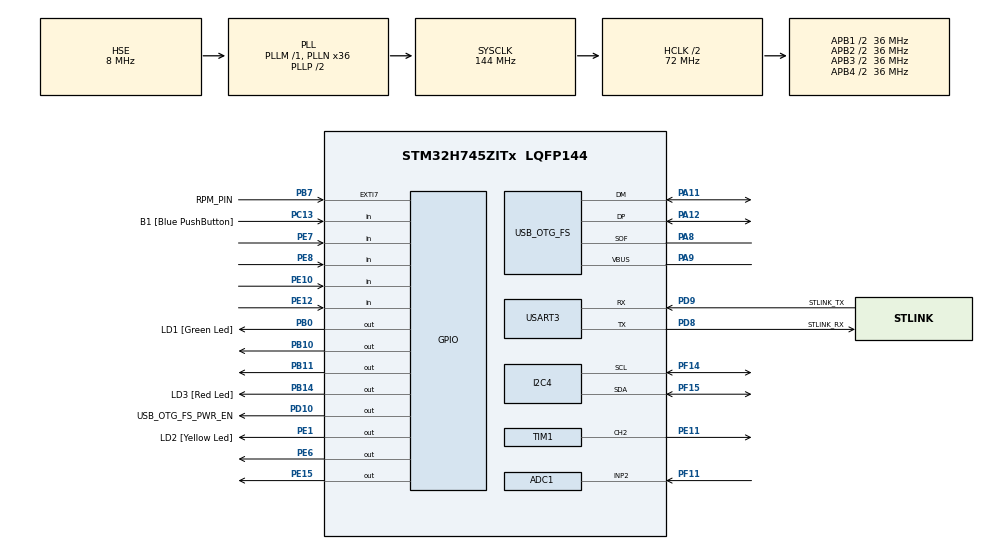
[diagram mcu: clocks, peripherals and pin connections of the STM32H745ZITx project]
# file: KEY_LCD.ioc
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ADC1.Channel-2\#ChannelRegularConversion=ADC_CHANNEL_2
ADC1.ClockPrescaler=ADC_CLOCK_ASYNC_DIV256
ADC1.ContinuousConvMode=ENABLE
ADC1.ConversionDataManagement=ADC_CONVERSIONDATA_DMA_CIRCULAR
ADC1.EOCSelection=ADC_EOC_SEQ_CONV
ADC1.NbrOfConversionFlag=1
ADC1.OffsetNumber-2\#ChannelRegularConversion=ADC_OFFSET_NONE
ADC1.OffsetSignedSaturation-2\#ChannelRegularConversion=DISABLE
ADC1.Overrun=ADC_OVR_DATA_OVERWRITTEN
ADC1.Rank-2\#ChannelRegularConversion=1
ADC1.Resolution=ADC_RESOLUTION_12B
ADC1.SamplingTime-2\#ChannelRegularConversion=ADC_SAMPLETIME_810CYCLES_5
ADC1.master=1
CortexM4.IPs=FATFS_M4\:I,FREERTOS_M4\:I,IWDG2\:I,RCC,WWDG2\:I,DMA,BDMA,MDMA,NVIC2\:I,DEBUG,USB_DEVICE_M4\:I,USB_HOST_M4\:I,PDM2PCM_M4\:I,PWR,RESMGR_UTILITY,SYS_M4\:I,CORTEX_M4\:I,OPENAMP_M4\:I,VREFBUF
CortexM7.IPs=FATFS_M7\:I,FREERTOS_M7\:I,IWDG1\:I,RCC\:I,WWDG1\:I,DMA\:I,BDMA\:I,MDMA\:I,NVIC1\:I,SYS\:I,USB_OTG_FS\:I,CORTEX_M7\:I,DEBUG\:I,USB_DEVICE_M7\:I,USB_HOST_M7\:I,PDM2PCM_M7\:I,PWR\:I,RESMGR_UTILITY\:I,OPENAMP_M7\:I,VREFBUF\:I,TIM5\:I,I2C4\:I,TIM13\:I,ADC1\:I,TIM1\:I,USART3\:I
CortexM7.Pins=PE6,PC13,PB0,PE7,PE8,PE10,PE12,PE15,PB10,PB11,PB14,PD10,PB7,PE1
Dma.ADC1.0.Direction=DMA_PERIPH_TO_MEMORY
Dma.ADC1.0.EventEnable=DISABLE
Dma.ADC1.0.FIFOMode=DMA_FIFOMODE_DISABLE
Dma.ADC1.0.Instance=DMA1_Stream0
Dma.ADC1.0.MemDataAlignment=DMA_MDATAALIGN_HALFWORD
Dma.ADC1.0.MemInc=DMA_MINC_ENABLE
Dma.ADC1.0.Mode=DMA_CIRCULAR
Dma.ADC1.0.PeriphDataAlignment=DMA_PDATAALIGN_HALFWORD
Dma.ADC1.0.PeriphInc=DMA_PINC_DISABLE
Dma.ADC1.0.Polarity=HAL_DMAMUX_REQ_GEN_RISING
Dma.ADC1.0.Priority=DMA_PRIORITY_LOW
Dma.ADC1.0.RequestNumber=1
Dma.ADC1.0.SignalID=NONE
Dma.ADC1.0.SyncEnable=DISABLE
Dma.ADC1.0.SyncPolarity=HAL_DMAMUX_SYNC_NO_EVENT
Dma.ADC1.0.SyncRequestNumber=1
Dma.ADC1.0.SyncSignalID=NONE
Dma.Request0=ADC1
I2C4.Timing=0x00808CD2
Mcu.Family=STM32H7
Mcu.Name=STM32H745ZITx
Mcu.Package=LQFP144
NVIC1.DMA1_Stream0_IRQn=true\:0\:0\:false\:false\:true\:false\:true
NVIC1.EXTI9_5_IRQn=true\:0\:0\:false\:false\:true\:true\:true
NVIC1.PriorityGroup=NVIC_PRIORITYGROUP_4
NVIC1.TIM5_IRQn=true\:0\:0\:false\:false\:true\:true\:true
NVIC1.TIM8_UP_TIM13_IRQn=true\:0\:0\:false\:false\:true\:true\:true
NVIC2.PriorityGroup=NVIC_PRIORITYGROUP_4
PA1.PinAttribute=CortexM4
PA1.Signal=ETH_REF_CLK
PA11.Mode=Device_Only
PA11.PinAttribute=CortexM7
PA11.Signal=USB_OTG_FS_DM
PA12.Mode=Device_Only
PA12.PinAttribute=CortexM7
PA12.Signal=USB_OTG_FS_DP
PA2.PinAttribute=CortexM4
PA2.Signal=ETH_MDIO
PA7.PinAttribute=CortexM4
PA7.Signal=ETH_CRS_DV
PA8.Mode=Activate_SOF_FS
PA8.PinAttribute=CortexM7
PA8.Signal=USB_OTG_FS_SOF
PA9.Mode=Activate_VBUS
PA9.PinAttribute=CortexM7
PA9.Signal=USB_OTG_FS_VBUS
PB0.GPIO_Label=LD1 [Green Led]
PB0.PinAttribute=CortexM7
PB0.Signal=GPIO_Output
PB10.GPIO_PuPd=GPIO_NOPULL
PB10.PinAttribute=CortexM7
PB10.PinState=GPIO_PIN_SET
PB10.Signal=GPIO_Output
PB11.GPIO_PuPd=GPIO_NOPULL
PB11.PinAttribute=CortexM7
PB11.PinState=GPIO_PIN_SET
PB11.Signal=GPIO_Output
PB13.PinAttribute=CortexM4
PB13.Signal=ETH_TXD1
PB14.GPIO_Label=LD3 [Red Led]
PB14.PinAttribute=CortexM7
PB14.Signal=GPIO_Output
PB7.GPIO_Label=RPM_PIN
PB7.PinAttribute=CortexM7
PB7.Signal=GPXTI7
PC1.PinAttribute=CortexM4
PC1.Signal=ETH_MDC
PC13.GPIO_Label=B1 [Blue PushButton]
PC13.PinAttribute=CortexM7
PC13.Signal=GPIO_Input
PC14-OSC32_IN\ (OSC32_IN).Mode=LSE-External-Oscillator
PC14-OSC32_IN\ (OSC32_IN).PinAttribute=CortexM7
PC14-OSC32_IN\ (OSC32_IN).Signal=RCC_OSC32_IN
PC15-OSC32_OUT\ (OSC32_OUT).Mode=LSE-External-Oscillator
PC15-OSC32_OUT\ (OSC32_OUT).PinAttribute=CortexM7
PC15-OSC32_OUT\ (OSC32_OUT).Signal=RCC_OSC32_OUT
PC4.PinAttribute=CortexM4
PC4.Signal=ETH_RXD0
PC5.PinAttribute=CortexM4
PC5.Signal=ETH_RXD1
PD10.GPIO_Label=USB_OTG_FS_PWR_EN
PD10.PinAttribute=CortexM7
PD10.Signal=GPIO_Output
PD8.GPIO_Label=STLINK_RX
PD8.Mode=Asynchronous
PD8.PinAttribute=CortexM7
PD8.Signal=USART3_TX
PD9.GPIO_Label=STLINK_TX
PD9.Mode=Asynchronous
PD9.PinAttribute=CortexM7
PD9.Signal=USART3_RX
PE1.GPIO_Label=LD2 [Yellow Led]
PE1.PinAttribute=CortexM7
PE1.Signal=GPIO_Output
PE10.GPIO_PuPd=GPIO_PULLUP
PE10.PinAttribute=CortexM7
PE10.Signal=GPIO_Input
PE11.PinAttribute=CortexM7
PE11.Signal=S_TIM1_CH2
PE12.GPIO_PuPd=GPIO_PULLUP
PE12.PinAttribute=CortexM7
PE12.Signal=GPIO_Input
PE15.GPIO_PuPd=GPIO_NOPULL
PE15.PinAttribute=CortexM7
PE15.Signal=GPIO_Output
PE6.GPIO_PuPd=GPIO_NOPULL
PE6.PinAttribute=CortexM7
PE6.Signal=GPIO_Output
PE7.GPIO_PuPd=GPIO_PULLUP
PE7.PinAttribute=CortexM7
PE7.Signal=GPIO_Input
PE8.GPIO_PuPd=GPIO_PULLUP
PE8.PinAttribute=CortexM7
PE8.Signal=GPIO_Input
PF11.Mode=IN2-Single-Ended
PF11.PinAttribute=CortexM7
PF11.Signal=ADC1_INP2
PF14.Mode=I2C
PF14.PinAttribute=CortexM7
PF14.Signal=I2C4_SCL
PF15.Mode=I2C
PF15.PinAttribute=CortexM7
PF15.Signal=I2C4_SDA
PG11.PinAttribute=CortexM4
PG11.Signal=ETH_TX_EN
PG13.PinAttribute=CortexM4
PG13.Signal=ETH_TXD0
PH0-OSC_IN\ (PH0).Mode=HSE-External-Clock-Source
PH0-OSC_IN\ (PH0).PinAttribute=CortexM7
PH0-OSC_IN\ (PH0).Signal=RCC_OSC_IN
PH1-OSC_OUT\ (PH1).PinAttribute=CortexM7
PH1-OSC_OUT\ (PH1).Signal=RCC_OSC_OUT
ProjectManager.HeapSize=M4-0x200,M7-0x200
ProjectManager.StackSize=M4-0x400,M7-0x400
ProjectManager.TargetToolchain=STM32CubeIDE
RCC.ADCFreq_Value=37500000
RCC.APB1Freq_Value=36000000
RCC.APB2Freq_Value=36000000
RCC.APB3Freq_Value=36000000
RCC.APB4Freq_Value=36000000
RCC.CortexFreq_Value=72000000
RCC.D1CPRE=RCC_SYSCLK_DIV2
RCC.D1PPRE=RCC_APB3_DIV2
RCC.D2PPRE1=RCC_APB1_DIV2
RCC.D2PPRE2=RCC_APB2_DIV2
RCC.D3PPRE=RCC_APB4_DIV2
RCC.DIVM1=1
RCC.DIVM2=1
RCC.DIVM3=1
RCC.DIVN1=36
RCC.DIVN2=18
RCC.DIVN3=18
RCC.DIVP2=4
RCC.DIVQ3=3
RCC.HCLKFreq_Value=72000000
RCC.HSE_VALUE=8000000
RCC.PLL2FRACN=6144
RCC.PLL3FRACN=6144
RCC.PLLFRACN=0
RCC.SYSCLKFreq_VALUE=144000000
RCC.SYSCLKSource=RCC_SYSCLKSOURCE_PLLCLK
RCC.SupplySource=PWR_DIRECT_SMPS_SUPPLY
RCC.USBCLockSelection=RCC_USBCLKSOURCE_PLL3
RCC.USBFreq_Value=50000000
SH.S_TIM1_CH2.0=TIM1_CH2,PWM Generation2 CH2
TIM1.Channel-PWM\ Generation2\ CH2=TIM_CHANNEL_2
TIM1.Period=100
TIM1.Prescaler=239
TIM13.Period=5000
TIM13.Prescaler=47999
USART3.VirtualMode-Asynchronous=VM_ASYNC
USB_OTG_FS.VirtualMode=Device_Only
VP_SYS_M4_VS_Systick.Mode=SysTick
VP_TIM13_VS_ClockSourceINT.Mode=Enable_Timer
VP_TIM1_VS_ClockSourceINT.Mode=Internal
VP_TIM5_VS_ClockSourceINT.Mode=Internal
board=NUCLEO-H745ZI-Q

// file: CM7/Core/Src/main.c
/* USER CODE BEGIN Header */
/**
  ******************************************************************************
  * @file           : main.c
  * @brief          : Main program body
  ******************************************************************************
  * @attention
  *
  * <h2><center>&copy; Copyright (c) 2021 STMicroelectronics.
  * All rights reserved.</center></h2>
  *
  * This software component is licensed by ST under BSD 3-Clause license,
  * the "License"; You may not use this file except in compliance with the
  * License. You may obtain a copy of the License at:
  *                        opensource.org/licenses/BSD-3-Clause
  *
  ******************************************************************************
  */
/* USER CODE END Header */
#include "main.h"

/* USER CODE BEGIN Includes */
#include <stdio.h>
#include <i2c-lcd.h>
/* USER CODE END Includes */

/* USER CODE BEGIN PD */
#define R1_PORT GPIOB
#define R1_PIN GPIO_PIN_11

#define R2_PORT GPIOB
#define R2_PIN GPIO_PIN_10

#define R3_PORT GPIOE
#define R3_PIN GPIO_PIN_15

#define R4_PORT GPIOE
#define R4_PIN GPIO_PIN_6

#define C1_PORT GPIOE
#define C1_PIN GPIO_PIN_12

#define C2_PORT GPIOE
#define C2_PIN GPIO_PIN_10

#define C3_PORT GPIOE
#define C3_PIN GPIO_PIN_7

#define C4_PORT GPIOE
#define C4_PIN GPIO_PIN_8

#define MPU6050 0XD0
#define WHO_AM_I 0x75
#define SMPLRT_DIV 0x19
#define PWR_MGMT_1 0x6B
#define TEMP_OUT_H 0x41
#define TEMP_OUT_L 0x42

#define LEN 40

#define PWM_MIN -100
#define PWM_MAX 100
#define RPM_MIN -3300
#define RPM_MAX 3300
#define TEMP_MIN -40.0
#define TEMP_MAX 60.0

#define ADC_R_MIN 0.0
#define ADC_R_MAX 1024.0
#define Sensor_R_MIN -20.0
#define Sensor_R_MAX 150.0

#define FREQ_M 100

#ifndef HSEM_ID_0
#define HSEM_ID_0 (0U) /* HW semaphore 0*/
#endif
/* USER CODE END PD */

/* USER CODE BEGIN PM */
char i2c_buffer[16];
char uart_buf[100] = {0};
uint16_t uart_buf_len;
char temp_buff[] = {' ',' ',' '};
char buffer[9];
float temps[2];
int RPMS[2];
float err_TMP[2];
float err_RPM[2];
//float temperaturas[2];
int  temp_ref, RPM, PWM, error;
uint8_t key,flag, imp_flag;
uint8_t cont =0;
int contT =0;
uint16_t tempADC;
float m1,m2,b1,b2,m_t,b_t;
uint8_t enter_flag = 1;
uint16_t counterRPM;

float K_pp = 0.1;
float K_pr = 0.1;
float K_d = 0.5;

/* USER CODE END PM */

ADC_HandleTypeDef hadc1;
DMA_HandleTypeDef hdma_adc1;

I2C_HandleTypeDef hi2c4;

TIM_HandleTypeDef htim1;
TIM_HandleTypeDef htim5;
TIM_HandleTypeDef htim13;

UART_HandleTypeDef huart3;

PCD_HandleTypeDef hpcd_USB_OTG_FS;

void SystemClock_Config(void);
static void MX_GPIO_Init(void);
static void MX_USB_OTG_FS_PCD_Init(void);
static void MX_TIM5_Init(void);
static void MX_I2C4_Init(void);
static void MX_DMA_Init(void);
static void MX_ADC1_Init(void);
static void MX_TIM13_Init(void);
static void MX_TIM1_Init(void);
static void MX_USART3_UART_Init(void);

/* USER CODE BEGIN 0 */

uint8_t leerTeclado(void);
void procesarTeclado(int keyt);
void dispTemp(void);
void clearTempBuff(void);
float TMP_2_RPM(float error_tmp);
int RPM_2_PWM(int error_rpm);
void MPU6050_init(void);
volatile uint32_t adcData = 0;
/* USER CODE END 0 */

int main(void)
{
/* USER CODE BEGIN Boot_Mode_Sequence_0 */
  int32_t timeout;
/* USER CODE END Boot_Mode_Sequence_0 */

/* USER CODE BEGIN Boot_Mode_Sequence_1 */
  /* Wait until CPU2 boots and enters in stop mode or timeout*/
  timeout = 0xFFFF;
  while((__HAL_RCC_GET_FLAG(RCC_FLAG_D2CKRDY) != RESET) && (timeout-- > 0));
  if ( timeout < 0 )
  {
  Error_Handler();
  }
/* USER CODE END Boot_Mode_Sequence_1 */
  /* MCU Configuration--------------------------------------------------------*/

  /* Reset of all peripherals, Initializes the Flash interface and the Systick. */
  HAL_Init();

  /* Configure the system clock */
  SystemClock_Config();
/* USER CODE BEGIN Boot_Mode_Sequence_2 */
/* When system initialization is finished, Cortex-M7 will release Cortex-M4 by means of
HSEM notification */
/*HW semaphore Clock enable*/
__HAL_RCC_HSEM_CLK_ENABLE();
/*Take HSEM */
HAL_HSEM_FastTake(HSEM_ID_0);
/*Release HSEM in order to notify the CPU2(CM4)*/
HAL_HSEM_Release(HSEM_ID_0,0);
/* wait until CPU2 wakes up from stop mode */
timeout = 0xFFFF;
while((__HAL_RCC_GET_FLAG(RCC_FLAG_D2CKRDY) == RESET) && (timeout-- > 0));
if ( timeout < 0 )
{
Error_Handler();
}
/* USER CODE END Boot_Mode_Sequence_2 */

  /* Initialize all configured peripherals */
  MX_GPIO_Init();
  MX_USB_OTG_FS_PCD_Init();
  MX_TIM5_Init();
  MX_I2C4_Init();
  MX_DMA_Init();
  MX_ADC1_Init();
  MX_TIM13_Init();
  MX_TIM1_Init();
  MX_USART3_UART_Init();
  /* USER CODE BEGIN 2 */
	lcd_init();
	MPU6050_init();
	TIM1->CCR2 = 100;
	HAL_TIM_PWM_Start(&htim1,TIM_CHANNEL_2);
	HAL_TIM_Base_Start_IT(&htim13);
	m1 = (RPM_MAX - RPM_MIN)/(TEMP_MAX-TEMP_MIN);
	b1 = -m1*TEMP_MIN+RPM_MIN;
	m2 = (PWM_MAX - PWM_MIN)/(RPM_MAX - RPM_MIN);
	b2 = -m2*RPM_MIN+PWM_MIN;

	m_t = (Sensor_R_MAX - Sensor_R_MIN)/(ADC_R_MAX - ADC_R_MIN);
	b_t = -m_t*ADC_R_MIN + Sensor_R_MIN;

//	HAL_ADC_Start_DMA(&hadc1, (uint32_t*)&temps[1], 1);

  /* USER CODE END 2 */

  /* Infinite loop */
  while (1)
  {

    /* USER CODE BEGIN 3 */

		key = leerTeclado();
		if (key!= 0x16)
		{
		procesarTeclado(key);
		//lcd_send_string(temp_buff[0]);
		}
		HAL_Delay(200);

		err_RPM[0] = err_RPM[1];
		err_RPM[1] = TMP_2_RPM(temps[1] - temps[0]);
		RPMS[1] = RPMS[1] + K_pr*err_RPM[1] + (K_d/FREQ_M)*(err_RPM[1]-err_RPM[0]);

		error = RPM_2_PWM(RPMS[1] - RPMS[0]);
		PWM = PWM + K_pp*error;

	   if (PWM > PWM_MAX)
		PWM = PWM_MAX;
	   else if (PWM < PWM_MIN)
		PWM = PWM_MIN;

	   if (RPM > RPM_MAX)
		RPM = RPM_MAX;
	   else if (RPM < RPM_MIN)
		RPM = RPM_MIN;

	  TIM1->CCR2 = 99;
	  HAL_Delay(100);
}
  /* USER CODE END 3 */
}

void SystemClock_Config(void)
{
  RCC_OscInitTypeDef RCC_OscInitStruct = {0};
  RCC_ClkInitTypeDef RCC_ClkInitStruct = {0};

  /** Supply configuration update enable
  */
  HAL_PWREx_ConfigSupply(PWR_DIRECT_SMPS_SUPPLY);
  /** Configure the main internal regulator output voltage
  */
  __HAL_PWR_VOLTAGESCALING_CONFIG(PWR_REGULATOR_VOLTAGE_SCALE3);

  while(!__HAL_PWR_GET_FLAG(PWR_FLAG_VOSRDY)) {}
  /** Macro to configure the PLL clock source
  */
  __HAL_RCC_PLL_PLLSOURCE_CONFIG(RCC_PLLSOURCE_HSE);
  /** Initializes the RCC Oscillators according to the specified parameters
  * in the RCC_OscInitTypeDef structure.
  */
  RCC_OscInitStruct.OscillatorType = RCC_OSCILLATORTYPE_HSE;
  RCC_OscInitStruct.HSEState = RCC_HSE_BYPASS;
  RCC_OscInitStruct.PLL.PLLState = RCC_PLL_ON;
  RCC_OscInitStruct.PLL.PLLSource = RCC_PLLSOURCE_HSE;
  RCC_OscInitStruct.PLL.PLLM = 1;
  RCC_OscInitStruct.PLL.PLLN = 36;
  RCC_OscInitStruct.PLL.PLLP = 2;
  RCC_OscInitStruct.PLL.PLLQ = 2;
  RCC_OscInitStruct.PLL.PLLR = 2;
  RCC_OscInitStruct.PLL.PLLRGE = RCC_PLL1VCIRANGE_3;
  RCC_OscInitStruct.PLL.PLLVCOSEL = RCC_PLL1VCOWIDE;
  RCC_OscInitStruct.PLL.PLLFRACN = 0;
  if (HAL_RCC_OscConfig(&RCC_OscInitStruct) != HAL_OK)
  {
    Error_Handler();
  }
  /** Initializes the CPU, AHB and APB buses clocks
  */
  RCC_ClkInitStruct.ClockType = RCC_CLOCKTYPE_HCLK|RCC_CLOCKTYPE_SYSCLK
                              |RCC_CLOCKTYPE_PCLK1|RCC_CLOCKTYPE_PCLK2
                              |RCC_CLOCKTYPE_D3PCLK1|RCC_CLOCKTYPE_D1PCLK1;
  RCC_ClkInitStruct.SYSCLKSource = RCC_SYSCLKSOURCE_PLLCLK;
  RCC_ClkInitStruct.SYSCLKDivider = RCC_SYSCLK_DIV2;
  RCC_ClkInitStruct.AHBCLKDivider = RCC_HCLK_DIV1;
  RCC_ClkInitStruct.APB3CLKDivider = RCC_APB3_DIV2;
  RCC_ClkInitStruct.APB1CLKDivider = RCC_APB1_DIV2;
  RCC_ClkInitStruct.APB2CLKDivider = RCC_APB2_DIV2;
  RCC_ClkInitStruct.APB4CLKDivider = RCC_APB4_DIV2;

  if (HAL_RCC_ClockConfig(&RCC_ClkInitStruct, FLASH_LATENCY_1) != HAL_OK)
  {
    Error_Handler();
  }
}

static void MX_ADC1_Init(void)
{

  ADC_MultiModeTypeDef multimode = {0};
  ADC_ChannelConfTypeDef sConfig = {0};

  /** Common config
  */
  hadc1.Instance = ADC1;
  hadc1.Init.ClockPrescaler = ADC_CLOCK_ASYNC_DIV256;
  hadc1.Init.Resolution = ADC_RESOLUTION_12B;
  hadc1.Init.ScanConvMode = ADC_SCAN_DISABLE;
  hadc1.Init.EOCSelection = ADC_EOC_SEQ_CONV;
  hadc1.Init.LowPowerAutoWait = DISABLE;
  hadc1.Init.ContinuousConvMode = ENABLE;
  hadc1.Init.NbrOfConversion = 1;
  hadc1.Init.DiscontinuousConvMode = DISABLE;
  hadc1.Init.ExternalTrigConv = ADC_SOFTWARE_START;
  hadc1.Init.ExternalTrigConvEdge = ADC_EXTERNALTRIGCONVEDGE_NONE;
  hadc1.Init.ConversionDataManagement = ADC_CONVERSIONDATA_DMA_CIRCULAR;
  hadc1.Init.Overrun = ADC_OVR_DATA_OVERWRITTEN;
  hadc1.Init.LeftBitShift = ADC_LEFTBITSHIFT_NONE;
  hadc1.Init.OversamplingMode = DISABLE;
  if (HAL_ADC_Init(&hadc1) != HAL_OK)
  {
    Error_Handler();
  }
  /** Configure the ADC multi-mode
  */
  multimode.Mode = ADC_MODE_INDEPENDENT;
  if (HAL_ADCEx_MultiModeConfigChannel(&hadc1, &multimode) != HAL_OK)
  {
    Error_Handler();
  }
  /** Configure Regular Channel
  */
  sConfig.Channel = ADC_CHANNEL_2;
  sConfig.Rank = ADC_REGULAR_RANK_1;
  sConfig.SamplingTime = ADC_SAMPLETIME_810CYCLES_5;
  sConfig.SingleDiff = ADC_SINGLE_ENDED;
  sConfig.OffsetNumber = ADC_OFFSET_NONE;
  sConfig.Offset = 0;
  sConfig.OffsetSignedSaturation = DISABLE;
  if (HAL_ADC_ConfigChannel(&hadc1, &sConfig) != HAL_OK)
  {
    Error_Handler();
  }

}

static void MX_I2C4_Init(void)
{

  hi2c4.Instance = I2C4;
  hi2c4.Init.Timing = 0x00808CD2;
  hi2c4.Init.OwnAddress1 = 0;
  hi2c4.Init.AddressingMode = I2C_ADDRESSINGMODE_7BIT;
  hi2c4.Init.DualAddressMode = I2C_DUALADDRESS_DISABLE;
  hi2c4.Init.OwnAddress2 = 0;
  hi2c4.Init.OwnAddress2Masks = I2C_OA2_NOMASK;
  hi2c4.Init.GeneralCallMode = I2C_GENERALCALL_DISABLE;
  hi2c4.Init.NoStretchMode = I2C_NOSTRETCH_DISABLE;
  if (HAL_I2C_Init(&hi2c4) != HAL_OK)
  {
    Error_Handler();
  }
  /** Configure Analogue filter
  */
  if (HAL_I2CEx_ConfigAnalogFilter(&hi2c4, I2C_ANALOGFILTER_ENABLE) != HAL_OK)
  {
    Error_Handler();
  }
  /** Configure Digital filter
  */
  if (HAL_I2CEx_ConfigDigitalFilter(&hi2c4, 0) != HAL_OK)
  {
    Error_Handler();
  }

}

static void MX_TIM1_Init(void)
{

  TIM_ClockConfigTypeDef sClockSourceConfig = {0};
  TIM_MasterConfigTypeDef sMasterConfig = {0};
  TIM_OC_InitTypeDef sConfigOC = {0};
  TIM_BreakDeadTimeConfigTypeDef sBreakDeadTimeConfig = {0};

  htim1.Instance = TIM1;
  htim1.Init.Prescaler = 239;
  htim1.Init.CounterMode = TIM_COUNTERMODE_UP;
  htim1.Init.Period = 100;
  htim1.Init.ClockDivision = TIM_CLOCKDIVISION_DIV1;
  htim1.Init.RepetitionCounter = 0;
  htim1.Init.AutoReloadPreload = TIM_AUTORELOAD_PRELOAD_DISABLE;
  if (HAL_TIM_Base_Init(&htim1) != HAL_OK)
  {
    Error_Handler();
  }
  sClockSourceConfig.ClockSource = TIM_CLOCKSOURCE_INTERNAL;
  if (HAL_TIM_ConfigClockSource(&htim1, &sClockSourceConfig) != HAL_OK)
  {
    Error_Handler();
  }
  if (HAL_TIM_PWM_Init(&htim1) != HAL_OK)
  {
    Error_Handler();
  }
  sMasterConfig.MasterOutputTrigger = TIM_TRGO_RESET;
  sMasterConfig.MasterOutputTrigger2 = TIM_TRGO2_RESET;
  sMasterConfig.MasterSlaveMode = TIM_MASTERSLAVEMODE_DISABLE;
  if (HAL_TIMEx_MasterConfigSynchronization(&htim1, &sMasterConfig) != HAL_OK)
  {
    Error_Handler();
  }
  sConfigOC.OCMode = TIM_OCMODE_PWM1;
  sConfigOC.Pulse = 0;
  sConfigOC.OCPolarity = TIM_OCPOLARITY_HIGH;
  sConfigOC.OCNPolarity = TIM_OCNPOLARITY_HIGH;
  sConfigOC.OCFastMode = TIM_OCFAST_DISABLE;
  sConfigOC.OCIdleState = TIM_OCIDLESTATE_RESET;
  sConfigOC.OCNIdleState = TIM_OCNIDLESTATE_RESET;
  if (HAL_TIM_PWM_ConfigChannel(&htim1, &sConfigOC, TIM_CHANNEL_2) != HAL_OK)
  {
    Error_Handler();
  }
  sBreakDeadTimeConfig.OffStateRunMode = TIM_OSSR_DISABLE;
  sBreakDeadTimeConfig.OffStateIDLEMode = TIM_OSSI_DISABLE;
  sBreakDeadTimeConfig.LockLevel = TIM_LOCKLEVEL_OFF;
  sBreakDeadTimeConfig.DeadTime = 0;
  sBreakDeadTimeConfig.BreakState = TIM_BREAK_DISABLE;
  sBreakDeadTimeConfig.BreakPolarity = TIM_BREAKPOLARITY_HIGH;
  sBreakDeadTimeConfig.BreakFilter = 0;
  sBreakDeadTimeConfig.Break2State = TIM_BREAK2_DISABLE;
  sBreakDeadTimeConfig.Break2Polarity = TIM_BREAK2POLARITY_HIGH;
  sBreakDeadTimeConfig.Break2Filter = 0;
  sBreakDeadTimeConfig.AutomaticOutput = TIM_AUTOMATICOUTPUT_DISABLE;
  if (HAL_TIMEx_ConfigBreakDeadTime(&htim1, &sBreakDeadTimeConfig) != HAL_OK)
  {
    Error_Handler();
  }
  HAL_TIM_MspPostInit(&htim1);

}

static void MX_TIM5_Init(void)
{

  TIM_ClockConfigTypeDef sClockSourceConfig = {0};
  TIM_MasterConfigTypeDef sMasterConfig = {0};

  htim5.Instance = TIM5;
  htim5.Init.Prescaler = 0;
  htim5.Init.CounterMode = TIM_COUNTERMODE_UP;
  htim5.Init.Period = 4294967295;
  htim5.Init.ClockDivision = TIM_CLOCKDIVISION_DIV1;
  htim5.Init.AutoReloadPreload = TIM_AUTORELOAD_PRELOAD_DISABLE;
  if (HAL_TIM_Base_Init(&htim5) != HAL_OK)
  {
    Error_Handler();
  }
  sClockSourceConfig.ClockSource = TIM_CLOCKSOURCE_INTERNAL;
  if (HAL_TIM_ConfigClockSource(&htim5, &sClockSourceConfig) != HAL_OK)
  {
    Error_Handler();
  }
  sMasterConfig.MasterOutputTrigger = TIM_TRGO_RESET;
  sMasterConfig.MasterSlaveMode = TIM_MASTERSLAVEMODE_DISABLE;
  if (HAL_TIMEx_MasterConfigSynchronization(&htim5, &sMasterConfig) != HAL_OK)
  {
    Error_Handler();
  }

}

static void MX_TIM13_Init(void)
{

  htim13.Instance = TIM13;
  htim13.Init.Prescaler = 47999;
  htim13.Init.CounterMode = TIM_COUNTERMODE_UP;
  htim13.Init.Period = 5000;
  htim13.Init.ClockDivision = TIM_CLOCKDIVISION_DIV1;
  htim13.Init.AutoReloadPreload = TIM_AUTORELOAD_PRELOAD_DISABLE;
  if (HAL_TIM_Base_Init(&htim13) != HAL_OK)
  {
    Error_Handler();
  }

}

static void MX_USART3_UART_Init(void)
{

  huart3.Instance = USART3;
  huart3.Init.BaudRate = 115200;
  huart3.Init.WordLength = UART_WORDLENGTH_8B;
  huart3.Init.StopBits = UART_STOPBITS_1;
  huart3.Init.Parity = UART_PARITY_NONE;
  huart3.Init.Mode = UART_MODE_TX_RX;
  huart3.Init.HwFlowCtl = UART_HWCONTROL_NONE;
  huart3.Init.OverSampling = UART_OVERSAMPLING_16;
  huart3.Init.OneBitSampling = UART_ONE_BIT_SAMPLE_DISABLE;
  huart3.Init.ClockPrescaler = UART_PRESCALER_DIV1;
  huart3.AdvancedInit.AdvFeatureInit = UART_ADVFEATURE_NO_INIT;
  if (HAL_UART_Init(&huart3) != HAL_OK)
  {
    Error_Handler();
  }
  if (HAL_UARTEx_SetTxFifoThreshold(&huart3, UART_TXFIFO_THRESHOLD_1_8) != HAL_OK)
  {
    Error_Handler();
  }
  if (HAL_UARTEx_SetRxFifoThreshold(&huart3, UART_RXFIFO_THRESHOLD_1_8) != HAL_OK)
  {
    Error_Handler();
  }
  if (HAL_UARTEx_DisableFifoMode(&huart3) != HAL_OK)
  {
    Error_Handler();
  }

}

static void MX_USB_OTG_FS_PCD_Init(void)
{

  hpcd_USB_OTG_FS.Instance = USB_OTG_FS;
  hpcd_USB_OTG_FS.Init.dev_endpoints = 9;
  hpcd_USB_OTG_FS.Init.speed = PCD_SPEED_FULL;
  hpcd_USB_OTG_FS.Init.dma_enable = DISABLE;
  hpcd_USB_OTG_FS.Init.phy_itface = PCD_PHY_EMBEDDED;
  hpcd_USB_OTG_FS.Init.Sof_enable = DISABLE;
  hpcd_USB_OTG_FS.Init.low_power_enable = DISABLE;
  hpcd_USB_OTG_FS.Init.lpm_enable = DISABLE;
  hpcd_USB_OTG_FS.Init.battery_charging_enable = ENABLE;
  hpcd_USB_OTG_FS.Init.vbus_sensing_enable = ENABLE;
  hpcd_USB_OTG_FS.Init.use_dedicated_ep1 = DISABLE;
  if (HAL_PCD_Init(&hpcd_USB_OTG_FS) != HAL_OK)
  {
    Error_Handler();
  }

}

static void MX_DMA_Init(void)
{

  /* DMA controller clock enable */
  __HAL_RCC_DMA1_CLK_ENABLE();

  /* DMA interrupt init */
  /* DMA1_Stream0_IRQn interrupt configuration */
  HAL_NVIC_SetPriority(DMA1_Stream0_IRQn, 0, 0);
  HAL_NVIC_EnableIRQ(DMA1_Stream0_IRQn);

}

static void MX_GPIO_Init(void)
{
  GPIO_InitTypeDef GPIO_InitStruct = {0};

  /* GPIO Ports Clock Enable */
  __HAL_RCC_GPIOE_CLK_ENABLE();
  __HAL_RCC_GPIOC_CLK_ENABLE();
  __HAL_RCC_GPIOH_CLK_ENABLE();
  __HAL_RCC_GPIOB_CLK_ENABLE();
  __HAL_RCC_GPIOF_CLK_ENABLE();
  __HAL_RCC_GPIOD_CLK_ENABLE();
  __HAL_RCC_GPIOA_CLK_ENABLE();

  /*Configure GPIO pin Output Level */
  HAL_GPIO_WritePin(GPIOE, GPIO_PIN_6|GPIO_PIN_15|LD2_Pin, GPIO_PIN_RESET);

  /*Configure GPIO pin Output Level */
  HAL_GPIO_WritePin(GPIOB, LD1_Pin|LD3_Pin, GPIO_PIN_RESET);

  /*Configure GPIO pin Output Level */
  HAL_GPIO_WritePin(GPIOB, GPIO_PIN_10|GPIO_PIN_11, GPIO_PIN_SET);

  /*Configure GPIO pin Output Level */
  HAL_GPIO_WritePin(USB_OTG_FS_PWR_EN_GPIO_Port, USB_OTG_FS_PWR_EN_Pin, GPIO_PIN_RESET);

  /*Configure GPIO pins : PE6 PE15 LD2_Pin */
  GPIO_InitStruct.Pin = GPIO_PIN_6|GPIO_PIN_15|LD2_Pin;
  GPIO_InitStruct.Mode = GPIO_MODE_OUTPUT_PP;
  GPIO_InitStruct.Pull = GPIO_NOPULL;
  GPIO_InitStruct.Speed = GPIO_SPEED_FREQ_LOW;
  HAL_GPIO_Init(GPIOE, &GPIO_InitStruct);

  /*Configure GPIO pin : B1_Pin */
  GPIO_InitStruct.Pin = B1_Pin;
  GPIO_InitStruct.Mode = GPIO_MODE_INPUT;
  GPIO_InitStruct.Pull = GPIO_NOPULL;
  HAL_GPIO_Init(B1_GPIO_Port, &GPIO_InitStruct);

  /*Configure GPIO pins : LD1_Pin PB10 PB11 LD3_Pin */
  GPIO_InitStruct.Pin = LD1_Pin|GPIO_PIN_10|GPIO_PIN_11|LD3_Pin;
  GPIO_InitStruct.Mode = GPIO_MODE_OUTPUT_PP;
  GPIO_InitStruct.Pull = GPIO_NOPULL;
  GPIO_InitStruct.Speed = GPIO_SPEED_FREQ_LOW;
  HAL_GPIO_Init(GPIOB, &GPIO_InitStruct);

  /*Configure GPIO pins : PE7 PE8 PE10 PE12 */
  GPIO_InitStruct.Pin = GPIO_PIN_7|GPIO_PIN_8|GPIO_PIN_10|GPIO_PIN_12;
  GPIO_InitStruct.Mode = GPIO_MODE_INPUT;
  GPIO_InitStruct.Pull = GPIO_PULLUP;
  HAL_GPIO_Init(GPIOE, &GPIO_InitStruct);

  /*Configure GPIO pin : USB_OTG_FS_PWR_EN_Pin */
  GPIO_InitStruct.Pin = USB_OTG_FS_PWR_EN_Pin;
  GPIO_InitStruct.Mode = GPIO_MODE_OUTPUT_PP;
  GPIO_InitStruct.Pull = GPIO_NOPULL;
  GPIO_InitStruct.Speed = GPIO_SPEED_FREQ_LOW;
  HAL_GPIO_Init(USB_OTG_FS_PWR_EN_GPIO_Port, &GPIO_InitStruct);

  /*Configure GPIO pin : RPM_PIN_Pin */
  GPIO_InitStruct.Pin = RPM_PIN_Pin;
  GPIO_InitStruct.Mode = GPIO_MODE_IT_RISING;
  GPIO_InitStruct.Pull = GPIO_NOPULL;
  HAL_GPIO_Init(RPM_PIN_GPIO_Port, &GPIO_InitStruct);

  /* EXTI interrupt init*/
  HAL_NVIC_SetPriority(EXTI9_5_IRQn, 0, 0);
  HAL_NVIC_EnableIRQ(EXTI9_5_IRQn);

}

/* USER CODE BEGIN 4 */
void HAL_ADC_ConvCpltCallback(ADC_HandleTypeDef* hadc){
 uart_buf_len = sprintf(uart_buf, "prueba3\n");
 HAL_UART_Transmit(&huart3, (uint8_t *)uart_buf, uart_buf_len, 100);

 HAL_ADC_Start_DMA(&hadc1, (uint32_t*)&adcData, 1);

 uart_buf_len = sprintf(uart_buf, "prueba4\n");
 HAL_UART_Transmit(&huart3, (uint8_t *)uart_buf, uart_buf_len, 100);
}

void MPU6050_init(void){
	uint8_t check;
	uint8_t data = 0;
	HAL_I2C_Mem_Read(&hi2c4,MPU6050,WHO_AM_I,1,&check,1,1000);
	if(check == 0x68){
		HAL_I2C_Mem_Write(&hi2c4,MPU6050,PWR_MGMT_1,1,&data,1,1000);
		data = 0b00000111;
		HAL_I2C_Mem_Write(&hi2c4,MPU6050,SMPLRT_DIV,1,&data,1,1000);
	}
}

float MPU6050_READ_TEMP(void){

	uint8_t tempOut[2];
	HAL_I2C_Mem_Read(&hi2c4,MPU6050,TEMP_OUT_H,1,&tempOut[0],1,1000);
	HAL_I2C_Mem_Read(&hi2c4,MPU6050,TEMP_OUT_L,1,&tempOut[1],1,1000);

	int16_t temp = (int16_t)(tempOut[0] << 8 | tempOut[1]);
	return (temp/340.0) + 36.53;
}

void HAL_TIM_PeriodElapsedCallback (TIM_HandleTypeDef * htim){
	if (htim == &htim13){

		temps[0] = temps[1];
		temps[1] = m_t*(adcData)+b_t;
		uart_buf_len = sprintf(uart_buf, "m_t: %f, b_t: %f\n ",m_t,b_t);
		HAL_UART_Transmit(&huart3, (uint8_t *)uart_buf, uart_buf_len, 100);
		//adc: %i
		uart_buf_len = sprintf(uart_buf, "adc: %i \n ",(int)adcData);
		HAL_UART_Transmit(&huart3, (uint8_t *)uart_buf, uart_buf_len, 100);
		//(float)adcData*5.0*100/1024//MPU6050_READ_TEMP();
		if(imp_flag){
			lcd_send_cmd(0xCB);
			sprintf(buffer, "%i",(int)temps[1]); //223 es el circulo de grados
			lcd_send_string(buffer);
		}
//		lcd_send_cmd(0xCA);
//		lcd_send_data(' ');

	}
}

void HAL_GPIO_EXIT_Callback(uint16_t GPIO_Pin){
	uart_buf_len = sprintf(uart_buf,"prueba1");
	HAL_UART_Transmit(&huart3, (uint8_t*)uart_buf, uart_buf_len,100);

	if(GPIO_Pin == GPIO_PIN_7){
		counterRPM += __HAL_TIM_GET_COUNTER(&htim5);
		uart_buf_len = sprintf(uart_buf,"prueba2");
		HAL_UART_Transmit(&huart3, (uint8_t*)uart_buf, uart_buf_len,100);
		RPM = 60.00/((double)counterRPM/100000000.00);
		uart_buf_len = sprintf(uart_buf,"RPM: %i",(int)RPM);
		HAL_UART_Transmit(&huart3, (uint8_t*)uart_buf, uart_buf_len,100);
		counterRPM = 0;
		__HAL_TIM_SET_COUNTER(&htim5,0);
	}
}

uint8_t leerTeclado(void){
	HAL_GPIO_WritePin(GPIOB,GPIO_PIN_11,GPIO_PIN_SET);
	HAL_GPIO_WritePin(GPIOB,GPIO_PIN_10,GPIO_PIN_SET);
	HAL_GPIO_WritePin(GPIOE,GPIO_PIN_15,GPIO_PIN_SET);
	HAL_GPIO_WritePin(GPIOE,GPIO_PIN_6,GPIO_PIN_SET);

	HAL_GPIO_TogglePin(GPIOB,GPIO_PIN_11);
	if(!(HAL_GPIO_ReadPin(GPIOE,GPIO_PIN_12))){
			return 1;
		}
	if(!(HAL_GPIO_ReadPin(GPIOE,GPIO_PIN_10))){
		return 2;
		}
	if(!(HAL_GPIO_ReadPin(GPIOE,GPIO_PIN_7))){
		return 3;
		}
	if(!(HAL_GPIO_ReadPin(GPIOE,GPIO_PIN_8))){
		return 10;
		}

	HAL_GPIO_TogglePin(GPIOB,GPIO_PIN_11);
	HAL_GPIO_TogglePin(GPIOB,GPIO_PIN_10);
	if(!(HAL_GPIO_ReadPin(GPIOE,GPIO_PIN_12))){
		return 4;
		}
	if(!(HAL_GPIO_ReadPin(GPIOE,GPIO_PIN_10))){
		return 5;
		}
	if(!(HAL_GPIO_ReadPin(GPIOE,GPIO_PIN_7))){
		return 6;
		}
	if(!(HAL_GPIO_ReadPin(GPIOE,GPIO_PIN_8))){
		return 11;
		}

	HAL_GPIO_TogglePin(GPIOB,GPIO_PIN_10);
	HAL_GPIO_TogglePin(GPIOE,GPIO_PIN_15);
	if(!(HAL_GPIO_ReadPin(GPIOE,GPIO_PIN_12))){
		return 7;
		}
	if(!(HAL_GPIO_ReadPin(GPIOE,GPIO_PIN_10))){
		return 8;
		}
	if(!(HAL_GPIO_ReadPin(GPIOE,GPIO_PIN_7))){
		return 9;
		}
	if(!(HAL_GPIO_ReadPin(GPIOE,GPIO_PIN_8))){
		return 12;
		}

	HAL_GPIO_TogglePin(GPIOE,GPIO_PIN_15);
	HAL_GPIO_TogglePin(GPIOE,GPIO_PIN_6);
	if(!(HAL_GPIO_ReadPin(GPIOE,GPIO_PIN_12))){
		return 14;
		}
	if(!(HAL_GPIO_ReadPin(GPIOE,GPIO_PIN_10))){
		return 0;
		}
	if(!(HAL_GPIO_ReadPin(GPIOE,GPIO_PIN_7))){
		return 15;
		}
	if(!(HAL_GPIO_ReadPin(GPIOE,GPIO_PIN_8))){
		return 13;
		}
	return 16;
}

void clearTempBuff(void){
	 for(int i =0;i<4;i++)
		 temp_buff[i] = ' ';
}

float TMP_2_RPM(float error_tmp){
	return m1*(error_tmp) +b1;
}

int RPM_2_PWM(int error_rpm){
	return m2*(error_rpm) +b2;
}

void dispTemp(void){
	lcd_send_cmd (0x80);
	lcd_send_string("Temp Ref: ");
	lcd_send_cmd(0x8A);
	lcd_send_data(temp_buff[0]);
	lcd_send_cmd(0x8B);
	lcd_send_data(temp_buff[1]);
	lcd_send_cmd(0x8C);
	lcd_send_data(temp_buff[2] == ' ' ? '0' : temp_buff[2]);
	lcd_send_cmd(0x8E);
	lcd_send_data(223);
	lcd_send_cmd(0x8F);
	lcd_send_data('C');
	lcd_send_cmd(0xC0);
	lcd_send_string("Temp Act: ");
//	lcd_send_cmd(0xCA);
//	lcd_send_data('0');
//	lcd_send_cmd(0xCB);
//	lcd_send_data('0');
//	lcd_send_cmd(0xCC);
//	lcd_send_data('0');
	lcd_send_cmd(0xCE);
	lcd_send_data(223);
	lcd_send_cmd(0xCF);
	lcd_send_data('C');
}

void procesarTeclado(int keyt){
	 if(keyt<10){
		if(enter_flag){
			clearTempBuff();
			enter_flag = 0;
		}
		if(cont<3){
			temp_buff[0] = temp_buff[1];
			temp_buff[1] = temp_buff[2];
			temp_buff[2] = key+48;
			cont++;
		}
		else {
			cont = 0;
		}

	 }
	 else if(keyt == 10){
		 imp_flag = 0;
		 clearTempBuff();
		 lcd_clear();
		 HAL_Delay(200);
		 lcd_send_cmd (0x80);
		 lcd_send_string("Temperatura");
		 lcd_send_cmd(0xC0);
		 lcd_send_string("reestablecida");
		 HAL_Delay(500);
		 HAL_Delay(500);
		 lcd_clear();
		 HAL_Delay(200);
		 imp_flag = 1;

	 }
	 else if(keyt == 13){

		temp_ref = (int)((temp_buff[2] == ' ' ? 0 : temp_buff[2] -48)) + (int)((temp_buff[1] == ' ' ? 0 : (temp_buff[1] -48)*10)) + (int)((temp_buff[0] == ' ' ? 0 : (temp_buff[0] -48)*100));
		cont=0;
		imp_flag = 0;
		enter_flag =0;
		if(temp_ref > 60){
			lcd_clear();
			HAL_Delay(500);
			clearTempBuff();
			lcd_send_cmd(0x80);
			lcd_send_string("La temperatura");
			lcd_send_cmd(0xC0);
			lcd_send_string("no es valida");
			HAL_Delay(500);
			HAL_Delay(500);
			lcd_clear();
			HAL_Delay(200);

		}else{
			lcd_clear();
			HAL_Delay(500);
			lcd_send_cmd(0x80);
			lcd_send_string("La temperatura");
			lcd_send_cmd(0xC0);
			lcd_send_string("fue actualizada");
			HAL_Delay(500);
			HAL_Delay(500);
			lcd_clear();
			HAL_Delay(200);
}
	 }
	 imp_flag = 1;

	 dispTemp();
}

/* USER CODE END 4 */

void Error_Handler(void)
{
  __disable_irq();
  while (1)
  {
  }
}

/************************ (C) COPYRIGHT STMicroelectronics *****END OF FILE****/
